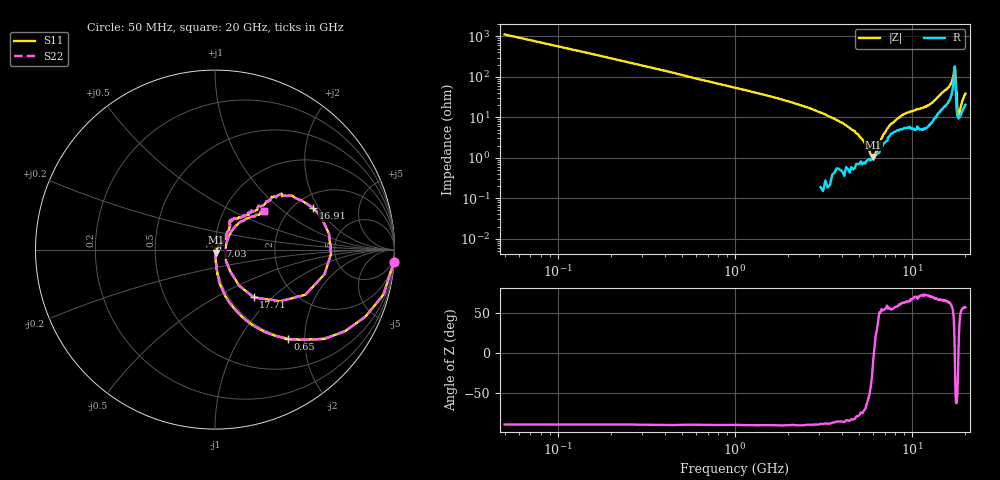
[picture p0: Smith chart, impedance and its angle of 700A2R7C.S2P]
!  American Technical Ceramics  Date:  3/13/98
!  One Norden Lane
!  Huntington Station,  NY.  11746-2102
!  Tel:  (516) 547-5700  Fax:  (516) 547-5748
!  Part Number  700A2R7C
!  Description: Porcelain, High Q, Low ESR
!  Application: Bypass, Coupling, Timing, Feedback
!  Tuning, Impedance Match, Blocking
# GHZ S DB R 50
! Freq  |S11|  S11 Ph  |S21|  S21 Ph  |S12|  S12 Ph  |S22|  S22 Ph
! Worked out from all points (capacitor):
!   201 points, 50 MHz to 20 GHz, reference 50 ohm
!   read as one part in series: C = 2.78 pF near 150 MHz
!   lowest |Z| = 1.05 ohm at 6.04 GHz (marker M1)
!   series resonance near 6.089 GHz, so ESL is about 250 pH
!   S11 on the Smith chart (normalised r, x): 50 MHz: 1, -28; 650 MHz: 0.98, -1.66; 7.03 GHz: 1.05, +0.05; 16.91 GHz: 2.49, +1.78; 17.71 GHz: 1.29, -0.78; 20 GHz: 1.53, +0.74
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0.05  -0.02 -4.1  -20.96 85.8  -20.96 85.8  -0.02 -4.1
0.15  -0.25 -15.0  -11.91 75.1  -11.91 75.1  -0.25 -15.0
0.25  -0.75 -24.0  -7.96 66.0  -7.96 66.0  -0.75 -24.0
0.65  -3.82 -50.7  -2.38 40.1  -2.38 40.1  -3.82 -50.7
1.45  -9.27 -72.0  -0.59 20.0  -0.59 20.0  -9.27 -72.0
3.44  -19.63 -85.7  -0.11 5.8  -0.11 5.8  -19.63 -85.7
5.54  -29.67 -83.8  -0.12 0.1  -0.12 0.1  -29.67 -83.8
6.04  -35.16 -71.4  -0.13 -0.8  -0.13 -0.8  -35.16 -71.4
6.43  -40.93 -13.9  -0.15 -1.4  -0.15 -1.4  -40.93 -13.9
6.73  -33.94 36.4  -0.16 -2.1  -0.16 -2.1  -33.94 36.4
7.03  -29.31 42.7  -0.20 -2.5  -0.20 -2.5  -29.31 42.7
8.13  -20.82 49.4  -0.31 -3.9  -0.31 -3.9  -20.82 49.4
10.03  -15.81 58.8  -0.35 -5.7  -0.35 -5.7  -15.81 58.8
13.42  -11.74 47.9  -0.56 -12.5  -0.56 -12.5  -11.74 47.9
16.71  -5.13 29.6  -2.54 -24.3  -2.54 -24.3  -5.13 29.6
16.91  -4.55 23.0  -3.18 -27.9  -3.18 -27.9  -4.55 23.0
17.21  -3.86 7.8  -5.88 -29.7  -5.88 -29.7  -3.86 7.8
17.41  -4.08 -12.7  -9.24 -12.0  -9.24 -12.0  -4.08 -12.7
17.71  -9.31 -51.0  -4.15 23.5  -4.15 23.5  -9.31 -51.0
18.1  -24.40 -8.7  -1.21 7.8  -1.21 7.8  -24.40 -8.7
18.8  -14.16 48.2  -0.89 -4.7  -0.89 -4.7  -14.16 48.2
20  -9.21 38.2  -1.45 -14.4  -1.45 -14.4  -9.21 38.2
